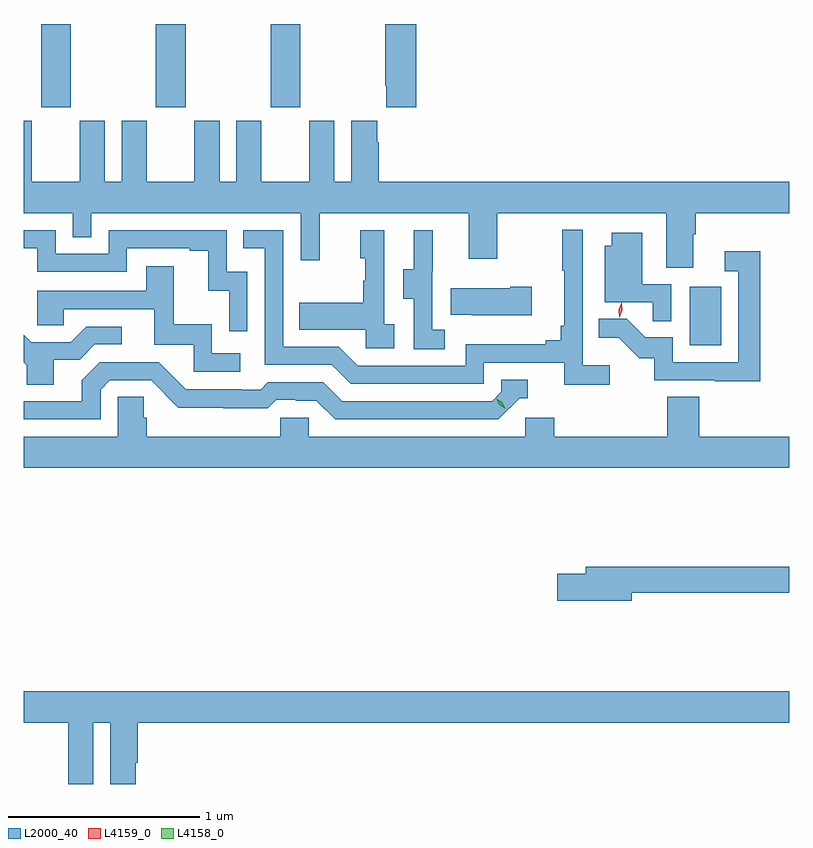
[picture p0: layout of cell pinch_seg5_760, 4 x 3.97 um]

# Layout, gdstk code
import gdstk
lib = gdstk.Library(unit=1e-6, precision=1e-09)
def R(c, l, rs):  # rectangles x0, y0, x1, y1
    for r in rs: c.add(gdstk.rectangle(r[:2], r[2:], *l))
def A(c, l, x, y, w, h, nx, ny, dx, dy):  # array of equal rectangles
    R(c, l, [(x+i*dx, y+j*dy, x+i*dx+w, y+j*dy+h) for i in range(nx) for j in range(ny)])
def P(c, l, *ps):  # polygons
    for p in ps: c.add(gdstk.Polygon(p, *l))
L2000_40 = (2000, 40)
L4158_0 = (4158, 0)
L4159_0 = (4159, 0)

pinch_seg5_760 = lib.new_cell('pinch_seg5_760')
A(pinch_seg5_760, L2000_40, 825.751, 902.601, 0.155, 0.435, 3, 1, 0.6, 0)
R(pinch_seg5_760, L2000_40, [(829.142,901.356,829.306,901.663)])
P(pinch_seg5_760, L2000_40, [(827.711,903.036),(827.551,903.036),(827.551,902.713),(827.555,902.713),(827.555,902.601),(827.711,902.601)],
  [(829.159,901.936),(829.172,901.936),(829.172,902.048),(829.661,902.048),(829.661,902.212),(827.516,902.212),(827.516,902.417),(827.509,902.417),(827.509,902.53),(827.372,902.53),(827.372,902.212),(827.284,902.212),(827.284,902.53),(827.153,902.53),(827.153,902.212),(826.903,902.212),(826.903,902.53),(826.772,902.53),(826.772,902.212),(826.684,902.212),(826.684,902.53),(826.553,902.53),(826.553,902.212),(826.303,902.212),(826.303,902.53),(826.172,902.53),(826.172,902.212),(826.084,902.212),(826.084,902.53),(825.953,902.53),(825.953,902.212),(825.703,902.212),(825.703,902.53),(825.661,902.53),(825.661,902.048),(825.918,902.048),(825.918,901.921),(826.014,901.921),(826.014,902.048),(827.109,902.048),(827.109,901.8),(827.207,901.8),(827.207,902.048),(827.987,902.048),(827.987,901.809),(828.135,901.809),(828.135,902.048),(829.019,902.048),(829.019,901.762),(829.159,901.762)],
  [(828.724,901.252),(828.582,901.252),(828.582,901.96),(828.474,901.96),(828.474,901.747),(828.485,901.747),(828.485,901.459),(828.466,901.459),(828.466,901.382),(828.389,901.382),(828.389,901.363),(827.97,901.363),(827.97,901.251),(827.406,901.251),(827.307,901.35),(827.016,901.35),(827.016,901.959),(826.807,901.959),(826.807,901.863),(826.92,901.863),(826.92,901.254),(827.27,901.254),(827.369,901.155),(828.066,901.155),(828.066,901.266),(828.485,901.266),(828.485,901.15),(828.724,901.15)],
  [(826.83,901.74),(826.722,901.74),(826.722,901.959),(826.104,901.959),(826.104,901.836),(825.828,901.836),(825.828,901.959),(825.661,901.959),(825.661,901.863),(825.732,901.863),(825.732,901.74),(826.2,901.74),(826.2,901.863),(826.529,901.863),(826.529,901.851),(826.625,901.851),(826.625,901.643),(826.734,901.643),(826.734,901.431),(826.83,901.431)],
  [(827.86,901.439),(827.796,901.439),(827.796,901.743),(827.798,901.743),(827.798,901.957),(827.699,901.957),(827.699,901.755),(827.645,901.755),(827.645,901.6),(827.7,901.6),(827.7,901.336),(827.86,901.336)],
  [(827.596,901.466),(827.544,901.466),(827.544,901.957),(827.42,901.957),(827.42,901.812),(827.446,901.812),(827.446,901.694),(827.436,901.694),(827.436,901.579),(827.101,901.579),(827.101,901.439),(827.448,901.439),(827.448,901.341),(827.596,901.341)],
  [(829.044,901.677),(828.892,901.677),(828.892,901.945),(828.734,901.945),(828.734,901.876),(828.698,901.876),(828.698,901.581),(828.949,901.581),(828.949,901.483),(829.044,901.483)],
  [(829.511,901.849),(829.323,901.849),(829.323,901.743),(829.395,901.743),(829.395,901.269),(829.053,901.269),(829.053,901.398),(828.908,901.398),(828.811,901.495),(828.667,901.495),(828.667,901.397),(828.771,901.397),(828.878,901.29),(828.955,901.29),(828.955,901.173),(829.273,901.173),(829.273,901.168),(829.511,901.168)],
  [(826.792,901.314),(826.644,901.314),(826.644,901.468),(826.445,901.468),(826.445,901.771),(826.301,901.771),(826.301,901.641),(825.732,901.641),(825.732,901.461),(825.869,901.461),(825.869,901.545),(826.343,901.545),(826.343,901.359),(826.548,901.359),(826.548,901.218),(826.792,901.218)],
  [(828.316,901.662),(828.203,901.662),(828.203,901.654),(827.893,901.654),(827.893,901.517),(828.001,901.517),(828.001,901.514),(828.316,901.514)],
  [(825.817,901.282),(825.952,901.282),(826.032,901.362),(826.174,901.362),(826.174,901.455),(825.986,901.455),(825.905,901.374),(825.699,901.374),(825.661,901.412),(825.661,901.268),(825.677,901.252),(825.677,901.15),(825.817,901.15)],
  [(826.062,901.125),(826.11,901.173),(826.326,901.173),(826.468,901.031),(826.704,901.031),(826.704,901.029),(826.937,901.029),(826.979,901.071),(827.082,901.071),(827.082,901.068),(827.189,901.068),(827.288,900.969),(828.141,900.969),(828.252,901.08),(828.295,901.08),(828.295,901.176),(828.156,901.176),(828.156,901.113),(828.108,901.065),(827.325,901.065),(827.226,901.164),(826.937,901.164),(826.898,901.125),(826.799,901.125),(826.799,901.128),(826.506,901.128),(826.365,901.269),(826.059,901.269),(825.965,901.175),(825.965,901.065),(825.661,901.065),(825.661,900.969),(826.062,900.969)],
  [(829.661,900.88),(829.19,900.88),(829.19,901.088),(829.025,901.088),(829.025,900.88),(828.434,900.88),(828.434,900.978),(828.282,900.978),(828.282,900.88),(827.151,900.88),(827.151,900.978),(827.001,900.978),(827.001,900.88),(826.304,900.88),(826.304,900.978),(826.289,900.978),(826.289,901.088),(826.152,901.088),(826.152,900.88),(825.661,900.88),(825.661,900.716),(829.661,900.716)],
  [(828.838,900.064),(829.661,900.064),(829.661,900.2),(828.599,900.2),(828.599,900.164),(828.45,900.164),(828.45,900.022),(828.838,900.022)],
  [(826.024,899.384),(826.112,899.384),(826.112,899.064),(826.246,899.064),(826.246,899.176),(826.256,899.176),(826.256,899.384),(829.661,899.384),(829.661,899.548),(825.661,899.548),(825.661,899.384),(825.893,899.384),(825.893,899.176),(825.894,899.176),(825.894,899.064),(826.024,899.064)])
P(pinch_seg5_760, L4158_0, [(828.177,901.025),(828.146,901.045),(828.131,901.078),(828.131,901.078),(828.131,901.078),(828.162,901.058),(828.177,901.025),(828.177,901.025)])
P(pinch_seg5_760, L4159_0, [(828.772,901.501),(828.772,901.501),(828.769,901.543),(828.785,901.581),(828.785,901.581),(828.786,901.581),(828.789,901.54),(828.772,901.501)])

lib.write_gds('pinch_seg5_760.gds')
